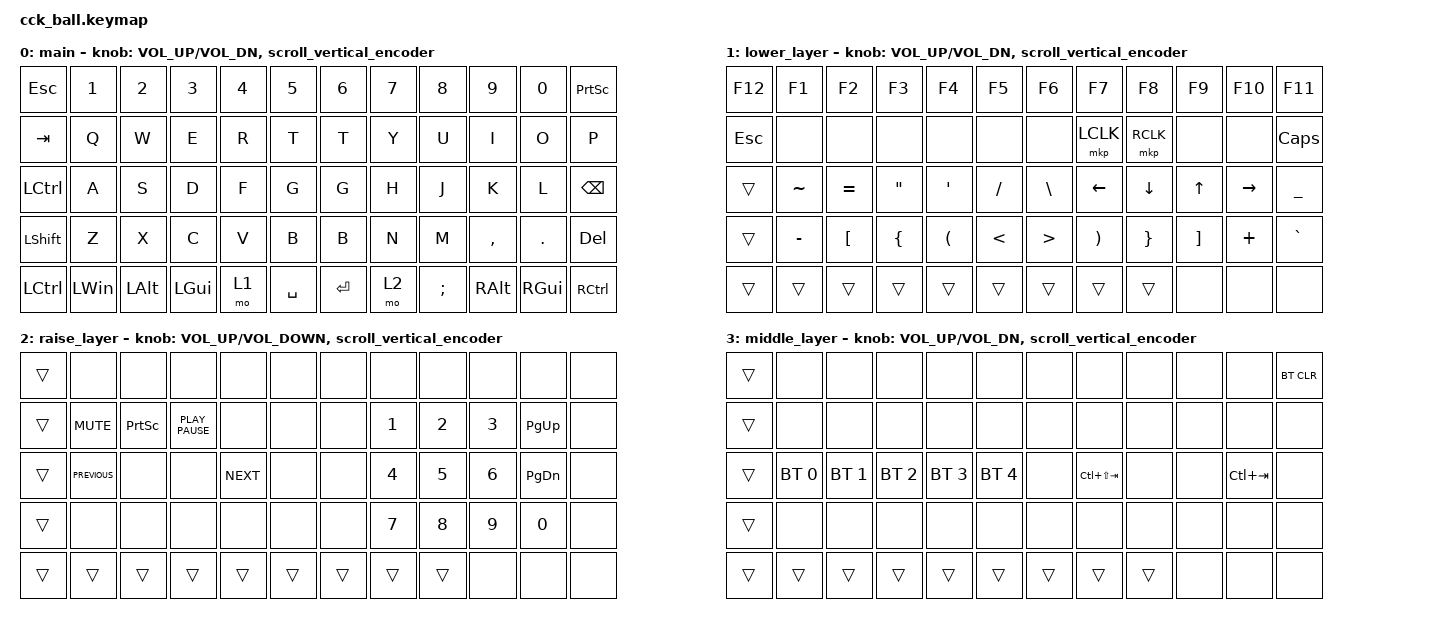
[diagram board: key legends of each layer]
#define ZMK_POINTING_DEFAULT_MOVE_VAL 1000 // 600
#define ZMK_POINTING_DEFAULT_SCRL_VAL 12   // 10

#include <input/processors.dtsi>
#include <zephyr/dt-bindings/input/input-event-codes.h>
#include <behaviors.dtsi>
#include <dt-bindings/zmk/bt.h>
#include <dt-bindings/zmk/keys.h>
#include <dt-bindings/zmk/pointing.h>

&mmv_input_listener { input-processors = <&zip_xy_scaler 2 1>; };

&msc_input_listener { input-processors = <&zip_scroll_scaler 2 1>; };

&msc {
    acceleration-exponent = <0>;      // 0
    time-to-max-speed-ms = <0>;       // 300
    delay-ms = <0>;                   // 0
};

&mmv {
    time-to-max-speed-ms = <500>;
    acceleration-exponent = <1>;
    trigger-period-ms = <16>;
};

&soft_off { hold-time-ms = <2000>; };

/ {
    // 上下滚动编码器行为
    // 左右滚动编码器行为

    scroll_horizontal_encoder: scroll_horizontal_encoder {
        compatible = "zmk,behavior-sensor-rotate";
        #sensor-binding-cells = <0>;
        bindings = <&msc SCRL_LEFT>, <&msc SCRL_RIGHT>;

        tap-ms = <100>;
    };

    scroll_vertical_encoder: scroll_vertical_encoder {
        compatible = "zmk,behavior-sensor-rotate";
        #sensor-binding-cells = <0>;
        bindings = <&msc SCRL_UP>, <&msc SCRL_DOWN>;

        tap-ms = <100>;
        label = "SCROLL_VERTICAL_ENCODER";
    };

    behaviors {
    };

    keymap {
        compatible = "zmk,keymap";

        main {
            bindings = <
&kp ESC           &kp N1        &kp N2        &kp N3    &kp N4  &kp N5     &kp N6     &kp N7  &kp N8    &kp N9     &kp N0    &kp PRINTSCREEN
&kp TAB           &kp Q         &kp W         &kp E     &kp R   &kp T      &kp T      &kp Y   &kp U     &kp I      &kp O     &kp P
&kp LCTRL         &kp A         &kp S         &kp D     &kp F   &kp G      &kp G      &kp H   &kp J     &kp K      &kp L     &kp BACKSPACE
&kp LEFT_SHIFT    &kp Z         &kp X         &kp C     &kp V   &kp B      &kp B      &kp N   &kp M     &kp COMMA  &kp DOT   &kp DELETE
&kp LEFT_CONTROL  &kp LEFT_WIN  &kp LEFT_ALT  &kp LGUI  &mo 1   &kp SPACE  &kp ENTER  &mo 2   &kp SEMI  &kp RALT   &kp RGUI  &kp RCTRL
            >;

            sensor-bindings =
                <&inc_dec_kp C_VOL_UP C_VOL_DN>,
                <&scroll_vertical_encoder>;
        };

        lower_layer {
            bindings = <
&kp F12     &kp F1     &kp F2            &kp F3             &kp F4                &kp F5         &kp F6            &kp F7                 &kp F8           &kp F9             &kp F10    &kp F11
&kp ESCAPE  &none      &none             &none              &none                 &none          &none             &mkp LCLK              &mkp RCLK        &none              &none      &kp CAPSLOCK
&trans      &kp TILDE  &kp EQUAL         &kp DOUBLE_QUOTES  &kp SINGLE_QUOTE      &kp SLASH      &kp BACKSLASH     &kp LEFT_ARROW         &kp DOWN_ARROW   &kp UP_ARROW       &kp RIGHT  &kp UNDER
&trans      &kp MINUS  &kp LEFT_BRACKET  &kp LEFT_BRACE     &kp LEFT_PARENTHESIS  &kp LESS_THAN  &kp GREATER_THAN  &kp RIGHT_PARENTHESIS  &kp RIGHT_BRACE  &kp RIGHT_BRACKET  &kp PLUS   &kp GRAVE
&trans      &trans     &trans            &trans             &trans                &trans         &trans            &trans                 &trans           &none              &none      &none
            >;

            sensor-bindings =
                <&inc_dec_kp C_VOL_UP C_VOL_DN>,
                <&scroll_vertical_encoder>;
        };

        raise_layer {
            bindings = <
&trans  &none           &none            &none             &none       &none   &none   &none         &none         &none         &none          &none
&trans  &kp K_MUTE      &kp PRINTSCREEN  &kp K_PLAY_PAUSE  &none       &none   &none   &kp NUMBER_1  &kp NUMBER_2  &kp NUMBER_3  &kp PAGE_UP    &none
&trans  &kp K_PREVIOUS  &none            &none             &kp K_NEXT  &none   &none   &kp NUMBER_4  &kp N5        &kp NUMBER_6  &kp PAGE_DOWN  &none
&trans  &none           &none            &none             &none       &none   &none   &kp NUMBER_7  &kp N8        &kp N9        &kp NUMBER_0   &none
&trans  &trans          &trans           &trans            &trans      &trans  &trans  &trans        &trans        &none         &none          &none
            >;

            sensor-bindings =
                <&inc_dec_kp C_VOLUME_UP C_VOLUME_DOWN>,
                <&scroll_vertical_encoder>;
        };

        middle_layer {
            bindings = <
&trans  &none         &none         &none         &none         &none         &none   &none            &none   &none  &none        &bt BT_CLR
&trans  &none         &none         &none         &none         &none         &none   &none            &none   &none  &none        &none
&trans  &bt BT_SEL 0  &bt BT_SEL 1  &bt BT_SEL 2  &bt BT_SEL 3  &bt BT_SEL 4  &none   &kp LC(LS(TAB))  &none   &none  &kp LC(TAB)  &none
&trans  &none         &none         &none         &none         &none         &none   &none            &none   &none  &none        &none
&trans  &trans        &trans        &trans        &trans        &trans        &trans  &trans           &trans  &none  &none        &none
            >;

            sensor-bindings =
                <&inc_dec_kp C_VOL_UP C_VOL_DN>,
                <&scroll_vertical_encoder>;
        };
    };

    conditional_layers {
        compatible = "zmk,conditional-layers";

        tri_layer {
            if-layers = <1 2>;
            then-layer = <3>;
        };
    };
};
